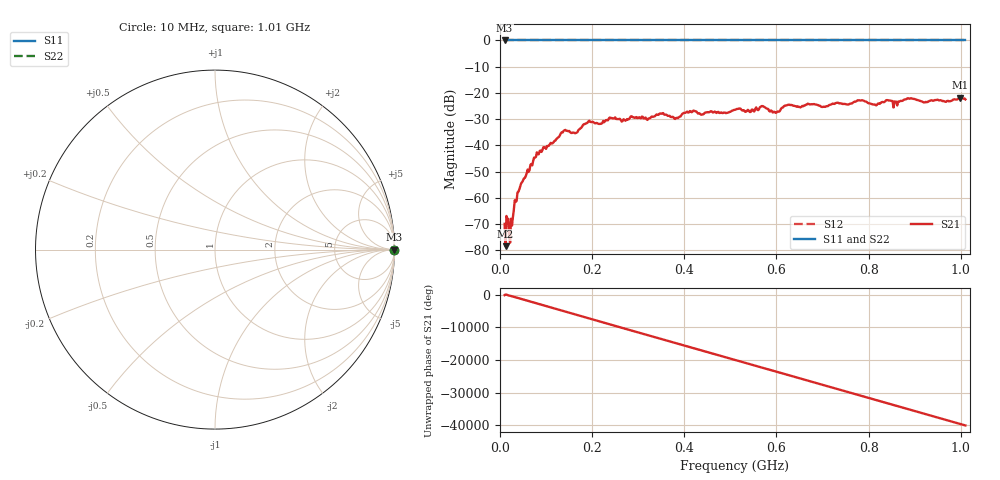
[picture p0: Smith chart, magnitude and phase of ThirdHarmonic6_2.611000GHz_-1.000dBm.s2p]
! 8/17/2025 5:43:07 AM
! C:\ANRITSUVNA\TEMP\TEMP.S2P
! CHANNEL.1
! TR.MEASUREMENT
! RAW.DATA
! RF.CORRECTION.OFF
! AVERAGING.OFF
! IF.BANDWIDTH: 5KHZ
! SWEEPTYPE:  FREQ.SWEEP(Linear)
! Reference Plane Port Info
! PORT:  PORT1  PORT2
! DISTANCE:  0  m  0  m
! TIME:  0  s  0  s
! PHASE.OFFSET:  0  deg.  0  deg.
! LOSS:  0  dB  0  dB
! REF.LOSS:  0  dB  0  dB
! REF.FREQ:  0  Hz  0  Hz
! Power Info
! POWER:  -20  dBm  -20  dBm
! EFF.POWER:  -20  dBm  -20  dBm
! SOURCE.ATTEN:  0  dB  0  dB
! TEST.ATTEN:  0  dB  0  dB
# GHZ S RI R 50.0
! FREQ.GHZ  S11RE  S11IM  S21RE  S21IM  S12RE  S12IM  S22RE  S22IM
!; PortSelection: Port_12
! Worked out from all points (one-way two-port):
!   501 points, 10 MHz to 1.01 GHz, reference 50 ohm
!   highest |S21| = -21.76 dB at 998 MHz (marker M1); lowest = -78.4 dB at 12 MHz (marker M2)
!   lowest |S11| = 0.0 dB at 10 MHz (marker M3)
!   |S11| at or under -10 dB: nowhere
!   |S22| runs from 0.0 to 0.0 dB; largest |S21 - S12| = 1.1
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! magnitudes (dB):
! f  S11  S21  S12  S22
! 10 MHz  0.0  -69.9  0.0  0.0
! 12 MHz  0.0  -78.4  0.0  0.0
! 24 MHz  0.0  -68.0  0.0  0.0
! 28 MHz  0.0  -67.4  0.0  0.0
! 42 MHz  0.0  -56.7  0.0  0.0
! 78 MHz  0.0  -44.4  0.0  0.0
! 138 MHz  0.0  -34.5  0.0  0.0
! 164 MHz  0.0  -35.3  0.0  0.0
! 178 MHz  0.0  -32.9  0.0  0.0
! 240 MHz  0.0  -29.6  0.0  0.0
! 322 MHz  0.0  -29.8  0.0  0.0
! 344 MHz  0.0  -28.3  0.0  0.0
! 382 MHz  0.0  -29.6  0.0  0.0
! 416 MHz  0.0  -27.4  0.0  0.0
! 510 MHz  0.0  -26.4  0.0  0.0
! 570 MHz  0.0  -25.0  0.0  0.0
! 596 MHz  0.0  -27.2  0.0  0.0
! 622 MHz  0.0  -24.7  0.0  0.0
! 678 MHz  0.0  -24.3  0.0  0.0
! 844 MHz  0.0  -22.9  0.0  0.0
! 998 MHz  0.0  -21.8  0.0  0.0
! 1.01 GHz  0.0  -22.5  0.0  0.0
